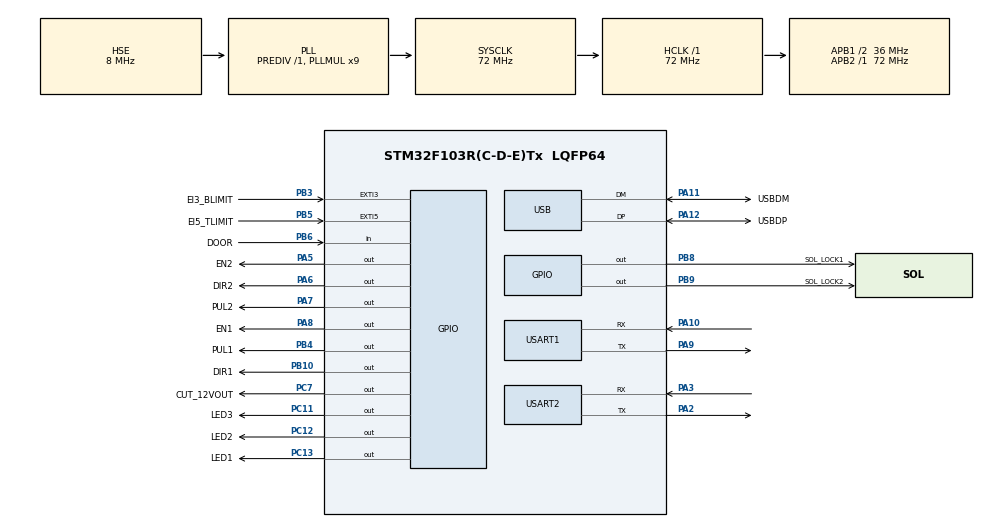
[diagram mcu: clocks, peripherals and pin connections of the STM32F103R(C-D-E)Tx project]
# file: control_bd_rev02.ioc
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Mcu.Family=STM32F1
USB_DEVICE.CLASS_NAME_FS=CDC
PB10.GPIO_Speed=GPIO_SPEED_FREQ_HIGH
PC12.Signal=GPIO_Output
PA14.GPIO_Label=SWCLK
NVIC.EXTI3_IRQn=true\:0\:0\:false\:false\:true\:true\:true
PA11.Mode=Device
PA7.GPIO_ModeDefaultOutputPP=GPIO_MODE_OUTPUT_OD
PA6.GPIO_Label=DIR2
PB6.GPIO_Label=DOOR
PB3.GPIO_ModeDefaultEXTI=GPIO_MODE_IT_FALLING
RCC.SYSCLKSource=RCC_SYSCLKSOURCE_PLLCLK
ProjectManager.StackSize=0x400
PD1-OSC_OUT.Signal=RCC_OSC_OUT
VP_TIM7_VS_ClockSourceINT.Mode=Enable_Timer
PB10.GPIO_ModeDefaultOutputPP=GPIO_MODE_OUTPUT_OD
PA12.Signal=USB_DP
RCC.HCLKFreq_Value=72000000
RCC.APB2TimFreq_Value=72000000
PB6.Signal=GPIO_Input
PC7.Signal=GPIO_Output
TIM7.Period=639
RCC.AHBFreq_Value=72000000
RCC.PLLMUL=RCC_PLL_MUL9
PA14.Mode=Serial_Wire
PC11.GPIO_Label=LED3
PA8.Signal=GPIO_Output
PA8.GPIO_ModeDefaultOutputPP=GPIO_MODE_OUTPUT_OD
TIM6.Period=6399
Mcu.Package=LQFP64
PB9.Signal=GPIO_Output
PA6.Signal=GPIO_Output
USART2.VirtualMode=VM_ASYNC
PA10.Signal=USART1_RX
PA6.GPIO_ModeDefaultOutputPP=GPIO_MODE_OUTPUT_OD
PB5.GPIO_Label=EI5_TLIMIT
RCC.APB1TimFreq_Value=72000000
PA6.GPIO_Speed=GPIO_SPEED_FREQ_HIGH
NVIC.USART1_IRQn=true\:0\:0\:false\:true\:true\:1\:true\:true
NVIC.TIM7_IRQn=true\:0\:0\:false\:false\:true\:true\:true
PB4.Signal=GPIO_Output
PB4.GPIO_ModeDefaultOutputPP=GPIO_MODE_OUTPUT_OD
PA3.Signal=USART2_RX
PB3.GPIO_Label=EI3_BLIMIT
PB5.GPIO_ModeDefaultEXTI=GPIO_MODE_IT_FALLING
RCC.PLLSourceVirtual=RCC_PLLSOURCE_HSE
PD1-OSC_OUT.Mode=HSE-External-Oscillator
PB9.GPIO_Label=SOL_LOCK2
PA10.Mode=Asynchronous
USB_DEVICE.VirtualModeFS=Cdc_FS
PC11.Signal=GPIO_Output
TIM6.Prescaler=9999
VP_TIM6_VS_ClockSourceINT.Mode=Enable_Timer
PC13-TAMPER-RTC.Signal=GPIO_Output
RCC.USBPrescaler=RCC_USBCLKSOURCE_PLL_DIV1_5
PA11.GPIO_Label=USBDM
PD0-OSC_IN.Signal=RCC_OSC_IN
RCC.APB1CLKDivider=RCC_HCLK_DIV2
NVIC.USART2_IRQn=true\:0\:0\:false\:true\:true\:3\:true\:true
PA12.GPIO_Label=USBDP
NVIC.TIM6_IRQn=true\:0\:0\:false\:true\:true\:2\:true\:true
PA3.Mode=Asynchronous
PA13.Signal=SYS_JTMS-SWDIO
PB8.GPIO_Label=SOL_LOCK1
PA9.Mode=Asynchronous
PA8.GPIO_Label=EN1
ProjectManager.TargetToolchain=STM32CubeIDE
PB10.GPIO_Label=DIR1
VP_USB_DEVICE_VS_USB_DEVICE_CDC_FS.Mode=CDC_FS
PA9.Signal=USART1_TX
RCC.USBFreq_Value=48000000
PD0-OSC_IN.Mode=HSE-External-Oscillator
PB10.Signal=GPIO_Output
PA5.Signal=GPIO_Output
TIM7.Prescaler=9999
board=custom
PC13-TAMPER-RTC.GPIO_Label=LED1
PA7.GPIO_Speed=GPIO_SPEED_FREQ_HIGH
PB4.GPIO_Speed=GPIO_SPEED_FREQ_HIGH
RCC.APB2Freq_Value=72000000
PC11.PinState=GPIO_PIN_SET
PB4.GPIO_Label=PUL1
PA5.GPIO_ModeDefaultOutputPP=GPIO_MODE_OUTPUT_OD
NVIC.USB_LP_CAN1_RX0_IRQn=true\:0\:0\:false\:false\:true\:false\:true
RCC.RCC_MCOSource=RCC_MCO1SOURCE_HSE
PA13.Mode=Serial_Wire
Mcu.Name=STM32F103R(C-D-E)Tx
PA2.Signal=USART2_TX
PA13.GPIO_Label=SWDIO
PC7.GPIO_Label=CUT_12VOUT
PB3.Signal=GPXTI3
RCC.SYSCLKFreq_VALUE=72000000
PB5.Signal=GPXTI5
PA7.GPIO_Label=PUL2
PA12.Mode=Device
PA5.GPIO_Label=EN2
PC12.GPIO_Label=LED2
USART1.VirtualMode=VM_ASYNC
PA11.Signal=USB_DM
NVIC.EXTI9_5_IRQn=true\:0\:0\:false\:false\:true\:true\:true
PA14.Signal=SYS_JTCK-SWCLK
ProjectManager.HeapSize=0x200
NVIC.PriorityGroup=NVIC_PRIORITYGROUP_4
PA2.Mode=Asynchronous
PB8.Signal=GPIO_Output
RCC.APB1Freq_Value=36000000
USB_DEVICE.VirtualMode=Cdc
PA7.Signal=GPIO_Output

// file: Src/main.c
/* USER CODE BEGIN Header */
/**
 ******************************************************************************
 * @file           : main.c
 * @brief          : Main program body
 ******************************************************************************
 * @attention
 *
 * <h2><center>&copy; Copyright (c) 2020 STMicroelectronics.
 * All rights reserved.</center></h2>
 *
 * This software component is licensed by ST under BSD 3-Clause license,
 * the "License"; You may not use this file except in compliance with the
 * License. You may obtain a copy of the License at:
 *                        opensource.org/licenses/BSD-3-Clause
 *
 ******************************************************************************
 */
/* USER CODE END Header */
#include "main.h"
#include "tim.h"
#include "usart.h"
#include "usb_device.h"
#include "gpio.h"

/* USER CODE BEGIN Includes */
#include <stdio.h>
#include <string.h>
#include <stdlib.h>
#include "usbd_cdc_if.h"

/* USER CODE END Includes */

/* USER CODE BEGIN PD */
#define EOT		0x0d   // '\r'  0x0d
#define DEBUGPORT	huart2		// default huart1
#define COMMUART	USART2		// default USART2
#define COMMPORT	huart2    // default huart2
#define COMMDATA	rx2_data	// default rx2_data
#define	ALIVE_PRIOD	180
#define REPORT_DOOR 1
#define	REPORT_CMD	0

//#define SOL_LOCK	//2020.07.28 psh

/* USER CODE END PD */

/* USER CODE BEGIN PV */
uint8_t COMMDATA;
uint8_t buf_index = 0;
uint8_t Rxcplt_flag = 0;
uint8_t CDC_flag = 0;
uint8_t PAD_boot_flag = 0;
uint8_t door_status = 1;
char CDCbuffer[100] = "";
char Rxbuffer[100] = "";
char Txbuffer[12] = "";	//to add checksum psh 2020.07.28 Again...!!
//char Txbuffer[11] = "";
int time_second = 0;
//int	alive_call_fail = 0;
volatile int alive_call_fail = 0;
int close_check = 0;
int open_check = 0;
int door_check = 0;
int door_check_enable = 0;

struct Board_state {
	char cmd[5];
	char door[5];
	char lock[5];
	char scan[5];
	char end[5];
};
struct Board_state Bstate = { "BS,", "1,", "1,", "0,", "\r" };   // EOT == \r

/* USER CODE END PV */

void SystemClock_Config(void);
static void MX_NVIC_Init(void);
/* USER CODE BEGIN PFP */
int _write(int file, char *ptr, int len) {
	HAL_UART_Transmit(&DEBUGPORT, (uint8_t*) ptr, (uint16_t) len, 0xFFFFFFFF);
	return len;
}

void Report_to_Server(int report_path);
void Rfid_Scanning(int speed);		// unit: seconds
void check_tablet_alive(int max_trying_count);
void check_door(void);
void command_parsing(char *str_ptr);

/* USER CODE END PFP */

int main(void)
{

  /* MCU Configuration--------------------------------------------------------*/

  /* Reset of all peripherals, Initializes the Flash interface and the Systick. */
  HAL_Init();

  /* Configure the system clock */
  SystemClock_Config();

  /* Initialize all configured peripherals */
  MX_GPIO_Init();
  MX_TIM6_Init();
  MX_USART1_UART_Init();
  MX_USART2_UART_Init();
  MX_TIM7_Init();
  MX_USB_DEVICE_Init();

  /* Initialize interrupts */
  MX_NVIC_Init();
  /* USER CODE BEGIN 2 */
	HAL_UART_Receive_IT(&COMMPORT, &COMMDATA, 1);
	HAL_TIM_Base_Start_IT(&htim6);
	HAL_TIM_Base_Start_IT(&htim7);

	//2020.07.28 psh
	#ifndef SOL_LOCK
	// 2020.07.28 psh - EM lock
		HAL_GPIO_WritePin(SOL_LOCK1_GPIO_Port, SOL_LOCK1_Pin, GPIO_PIN_SET); // unlock SOL_LOCK1 --> LOCK of EM Lock
		HAL_GPIO_WritePin(SOL_LOCK2_GPIO_Port, SOL_LOCK2_Pin, GPIO_PIN_SET); // unlock SOL_LOCK2 --> LOCK of EM Lock
	#endif

  /* USER CODE END 2 */

  /* Infinite loop */
  /* USER CODE BEGIN WHILE */
	char *str_ptr = NULL;

	printf(" hello? \r\n");     // ǥ�� ���? printf�� ����Ͽ�?...

	while (1) {

		if (CDC_flag == 1) {
			printf(" Received CDC data: %s\r\n", CDCbuffer);
			if (CDCbuffer[0] != '\0') {
				str_ptr = strtok(CDCbuffer, ",");
				printf(" command: %s\r\n", str_ptr);
				command_parsing(str_ptr);
			}
			CDC_flag = 0;
		}

		if (Rxcplt_flag == 1) {
			printf(" Received data: %s\r\n", Rxbuffer);

			if (Rxbuffer[0] != '\0') {
				str_ptr = strtok(Rxbuffer, ",");
				printf(" command: %s\r\n", str_ptr);
				command_parsing(str_ptr);
			}   // end if(Rxbuffer[0] != '\0')
			buf_index = 0;
			Rxcplt_flag = 0;
		}   // end if(Rxcplt_flag == 1)

		if (time_second >= ALIVE_PRIOD)
			check_tablet_alive(3);

		if (door_check_enable == 1)
			check_door();

    /* USER CODE END WHILE */

	}
}

void SystemClock_Config(void)
{
  RCC_OscInitTypeDef RCC_OscInitStruct = {0};
  RCC_ClkInitTypeDef RCC_ClkInitStruct = {0};
  RCC_PeriphCLKInitTypeDef PeriphClkInit = {0};

  /** Initializes the RCC Oscillators according to the specified parameters
  * in the RCC_OscInitTypeDef structure.
  */
  RCC_OscInitStruct.OscillatorType = RCC_OSCILLATORTYPE_HSE;
  RCC_OscInitStruct.HSEState = RCC_HSE_ON;
  RCC_OscInitStruct.HSEPredivValue = RCC_HSE_PREDIV_DIV1;
  RCC_OscInitStruct.HSIState = RCC_HSI_ON;
  RCC_OscInitStruct.PLL.PLLState = RCC_PLL_ON;
  RCC_OscInitStruct.PLL.PLLSource = RCC_PLLSOURCE_HSE;
  RCC_OscInitStruct.PLL.PLLMUL = RCC_PLL_MUL9;
  if (HAL_RCC_OscConfig(&RCC_OscInitStruct) != HAL_OK)
  {
    Error_Handler();
  }
  /** Initializes the CPU, AHB and APB buses clocks
  */
  RCC_ClkInitStruct.ClockType = RCC_CLOCKTYPE_HCLK|RCC_CLOCKTYPE_SYSCLK
                              |RCC_CLOCKTYPE_PCLK1|RCC_CLOCKTYPE_PCLK2;
  RCC_ClkInitStruct.SYSCLKSource = RCC_SYSCLKSOURCE_PLLCLK;
  RCC_ClkInitStruct.AHBCLKDivider = RCC_SYSCLK_DIV1;
  RCC_ClkInitStruct.APB1CLKDivider = RCC_HCLK_DIV2;
  RCC_ClkInitStruct.APB2CLKDivider = RCC_HCLK_DIV1;

  if (HAL_RCC_ClockConfig(&RCC_ClkInitStruct, FLASH_LATENCY_2) != HAL_OK)
  {
    Error_Handler();
  }
  PeriphClkInit.PeriphClockSelection = RCC_PERIPHCLK_USB;
  PeriphClkInit.UsbClockSelection = RCC_USBCLKSOURCE_PLL_DIV1_5;
  if (HAL_RCCEx_PeriphCLKConfig(&PeriphClkInit) != HAL_OK)
  {
    Error_Handler();
  }
}

/**
  * @brief NVIC Configuration.
  * @retval None
  */
static void MX_NVIC_Init(void)
{
  /* USART1_IRQn interrupt configuration */
  HAL_NVIC_SetPriority(USART1_IRQn, 0, 0);
  HAL_NVIC_EnableIRQ(USART1_IRQn);
  /* TIM6_IRQn interrupt configuration */
  HAL_NVIC_SetPriority(TIM6_IRQn, 0, 0);
  HAL_NVIC_EnableIRQ(TIM6_IRQn);
  /* USART2_IRQn interrupt configuration */
  HAL_NVIC_SetPriority(USART2_IRQn, 0, 0);
  HAL_NVIC_EnableIRQ(USART2_IRQn);
}

/* USER CODE BEGIN 4 */

void command_parsing(char *str_ptr) {

	if (!strcmp(str_ptr, "OK")) {
		printf(" OK signal received\r\n");
		str_ptr = strtok(NULL, ",");
		PAD_boot_flag = 1;
		alive_call_fail = 0;

	} else if (!strcmp(str_ptr, "BR")) {
		printf(" Board Read\r\n");
		str_ptr = strtok(NULL, ",");
		Report_to_Server(REPORT_CMD);

	} else if (!strcmp(str_ptr, "UD")) {
		printf(" Unlock Door\r\n");
		str_ptr = strtok(NULL, ",");

#ifdef SOL_LOCK
	  HAL_GPIO_WritePin(SOL_LOCK1_GPIO_Port, SOL_LOCK1_Pin, GPIO_PIN_SET);  // unlock SOL_LOCK1
	  HAL_GPIO_WritePin(SOL_LOCK2_GPIO_Port, SOL_LOCK2_Pin, GPIO_PIN_SET);  // unlock SOL_LOCK2
#else
		// 2020.07.28 psh - EM lock
		HAL_GPIO_WritePin(SOL_LOCK1_GPIO_Port, SOL_LOCK1_Pin, GPIO_PIN_RESET); // lock SOL_LOCK1 ---> Unlock of EM Lock
		HAL_GPIO_WritePin(SOL_LOCK2_GPIO_Port, SOL_LOCK2_Pin, GPIO_PIN_RESET); // lock SOL_LOCK2 ---> Unlock of EM Lock
#endif
		HAL_Delay(1000);	// 1s delay for unlock operation
		strcpy(Bstate.lock, "0,");  // ���� ����
		HAL_GPIO_WritePin(LED2_GPIO_Port, LED2_Pin, GPIO_PIN_SET);

		Report_to_Server(REPORT_CMD);

	} else if (!strcmp(str_ptr, "LD")) {
		printf(" Lock Door\r\n");
		str_ptr = strtok(NULL, ",");

#ifdef SOL_LOCK
	  HAL_GPIO_WritePin(SOL_LOCK1_GPIO_Port, SOL_LOCK1_Pin, GPIO_PIN_RESET);  // lock SOL_LOCK1
	  HAL_GPIO_WritePin(SOL_LOCK2_GPIO_Port, SOL_LOCK2_Pin, GPIO_PIN_RESET);  // lock SOL_LOCK2
#else
// 2020.07.28 psh - EM lock
		HAL_GPIO_WritePin(SOL_LOCK1_GPIO_Port, SOL_LOCK1_Pin, GPIO_PIN_SET); // unlock SOL_LOCK1  ---> Lock of EM Lock
		HAL_GPIO_WritePin(SOL_LOCK2_GPIO_Port, SOL_LOCK2_Pin, GPIO_PIN_SET); // unlock SOL_LOCK2  ---> Lock of EM Lock
#endif

		HAL_Delay(1000);	// 1s delay for lock operation
		strcpy(Bstate.lock, "1,");  // ���� ����
		HAL_GPIO_WritePin(LED2_GPIO_Port, LED2_Pin, GPIO_PIN_RESET);

		Report_to_Server(REPORT_CMD);

	} else if (!strcmp(str_ptr, "RS")) {
		printf(" RFID Scanning\r\n");
		str_ptr = strtok(NULL, ",");

		if (str_ptr == '\0') {
			printf(" need more parameter!\r\n");
		} else {
			printf(" speed:%s\r\n", str_ptr);
			// HAL_Delay(1000);
			Rfid_Scanning(atoi(str_ptr));

			Report_to_Server(REPORT_CMD);
		}
	}
}

void check_door(void) {
	door_check_enable = 0;

	if (HAL_GPIO_ReadPin(DOOR_GPIO_Port, DOOR_Pin) == GPIO_PIN_SET)
		open_check++;   // open
	else
		close_check++;  // close

	if (door_check > 3) {  // 5 times when door_check is 0,1,2,3,4
		if (open_check > 3) { // open
			HAL_GPIO_WritePin(LED1_GPIO_Port, LED1_Pin, GPIO_PIN_SET);
			if (!strcmp(Bstate.door, "1,")) {    // "1," == closed
				strcpy(Bstate.door, "0,");
				Report_to_Server(REPORT_DOOR);
				printf(" Door is opened!\r\n");
			}
		}
		if (close_check > 3) {  //close
			HAL_GPIO_WritePin(LED1_GPIO_Port, LED1_Pin, GPIO_PIN_RESET);
			if (!strcmp(Bstate.door, "0,")) {	// "0," == opened
				strcpy(Bstate.door, "1,");
				Report_to_Server(REPORT_DOOR);
				printf(" Door is closed!\r\n");
			}
		}
		door_check = 0;
		open_check = 0;
		close_check = 0;

	} else
		door_check++;

}

void check_tablet_alive(int max_trying_count) {
	CDC_Transmit_FS((uint8_t*) "callme\r", (uint16_t) strlen("callme\r"));
	HAL_UART_Transmit(&COMMPORT, (uint8_t*) "callme\r",
			(uint16_t) strlen("callme\r"), 0xFFFFFFFF);
	printf(" alive calling!\r\n");
	if (PAD_boot_flag == 1) {
		alive_call_fail++;
	}
	time_second = 0;

	if (alive_call_fail >= max_trying_count) { // check alive for 'max_trying_count' times
		HAL_GPIO_WritePin(CUT_12VOUT_GPIO_Port, CUT_12VOUT_Pin, GPIO_PIN_SET);
		printf(" Tablet died, rebooted!\r\n"); // control relay for powering tablet
		HAL_Delay(2000);
		HAL_GPIO_WritePin(CUT_12VOUT_GPIO_Port, CUT_12VOUT_Pin, GPIO_PIN_RESET);
		alive_call_fail = 0;
		PAD_boot_flag = 0;
	}
}

void Report_to_Server(int report_path) {
	int total = 0, sum = 0;

	for (int i = 0; i < 3; i++)
		sum += Bstate.cmd[i];

	for (int i = 0; i < 2; i++) {
		sum += Bstate.door[i];
		sum += Bstate.lock[i];
		sum += Bstate.scan[i];
	}
	sum += Bstate.end[0];
	total = sum;
	total = total & 0xff;
	total = ~total + 1;

	sprintf(Txbuffer, "%s%s%s%s%s", Bstate.cmd, Bstate.door, Bstate.lock, Bstate.scan, Bstate.end);
	printf(" Txbuffer: %s\r\n", Txbuffer);

	Txbuffer[10] = total;	//checksum

	if (report_path == REPORT_CMD) {
		if (Rxcplt_flag == 1) {
			HAL_UART_Transmit(&COMMPORT, (uint8_t*) Txbuffer,
					(uint16_t) strlen(Txbuffer), 0xFFFFFFFF);
		} else if (CDC_flag == 1) {
			CDC_Transmit_FS((uint8_t*) Txbuffer, (uint16_t) strlen(Txbuffer));
		}
	} else if (report_path == REPORT_DOOR) {
		CDC_Transmit_FS((uint8_t*) Txbuffer, (uint16_t) strlen(Txbuffer));
		HAL_UART_Transmit(&COMMPORT, (uint8_t*) Txbuffer,
				(uint16_t) strlen(Txbuffer), 0xFFFFFFFF);
	}

	/*
	 if(report_path == REPORT_CMD) {
	 if(Rxcplt_flag == 1) {
	 HAL_UART_Transmit(&COMMPORT, (uint8_t *)Txbuffer, (uint16_t)strlen(Txbuffer), 0xFFFFFFFF);
	 } else if(CDC_flag == 1) {
	 CDC_Transmit_FS((uint8_t*) Txbuffer, (uint16_t)strlen(Txbuffer));
	 }
	 } else if(report_path == REPORT_DOOR) {
	 CDC_Transmit_FS((uint8_t*) Txbuffer, (uint16_t)strlen(Txbuffer));
	 HAL_UART_Transmit(&COMMPORT, (uint8_t *)Txbuffer, (uint16_t)strlen(Txbuffer), 0xFFFFFFFF);
	 }
	 */
}

void Rfid_Scanning(int speed) {
	uint8_t i = 0;

	printf(" scanning...... \r\n");
	strcpy(Bstate.scan, "1,");  // ���� ����, ��ĵ��...
	Report_to_Server(REPORT_CMD);

	for (i = 0; i < (speed * 2); ++i) {
		HAL_GPIO_TogglePin(LED3_GPIO_Port, LED3_Pin);
		HAL_Delay(500);
		HAL_GPIO_TogglePin(LED3_GPIO_Port, LED3_Pin);
		HAL_Delay(500);
	}
	strcpy(Bstate.scan, "0,");  // ���� ����, ��ĵ ��...
	printf(" scan is completed!!\r\n");
}

void HAL_UART_RxCpltCallback(UART_HandleTypeDef *huart) {
	// printf("RxINT_Routine");
	if (huart->Instance == COMMUART) {
		if (COMMDATA == EOT) {
			Rxbuffer[buf_index] = '\0';
			Rxcplt_flag = 1;
		} else if (COMMDATA != 0x00) {			// except NULL(0x00)
			Rxbuffer[buf_index++] = COMMDATA;
		}

		HAL_UART_Receive_IT(&COMMPORT, &COMMDATA, 1);

	}
}

void HAL_TIM_PeriodElapsedCallback(TIM_HandleTypeDef *htim) {
	if (htim->Instance == TIM6) {
		time_second++;
		// HAL_GPIO_TogglePin(LED3_GPIO_Port, LED3_Pin);
		// printf(" alive_call_fail: %d,  time: %d\r\n", alive_call_fail, time_second);
		// CDC_Transmit_FS("CDC_TX test...\r\n", sizeof("CDC_TX test...\r\n"));
	}
	if (htim->Instance == TIM7) {
		door_check_enable = 1;
	}
}

void HAL_GPIO_EXTI_Callback(uint16_t GPIO_Pin) {
	/* if(GPIO_Pin == EI5_TLIMIT_Pin) {
	 printf("TLIMIT click!!!\r\n");
	 } */

	if(GPIO_Pin == EI3_BLIMIT_Pin) {
	 printf("BLIMIT click!!!\r\n");
	 }

}

/* USER CODE END 4 */

void Error_Handler(void)
{
}

/************************ (C) COPYRIGHT STMicroelectronics *****END OF FILE****/
